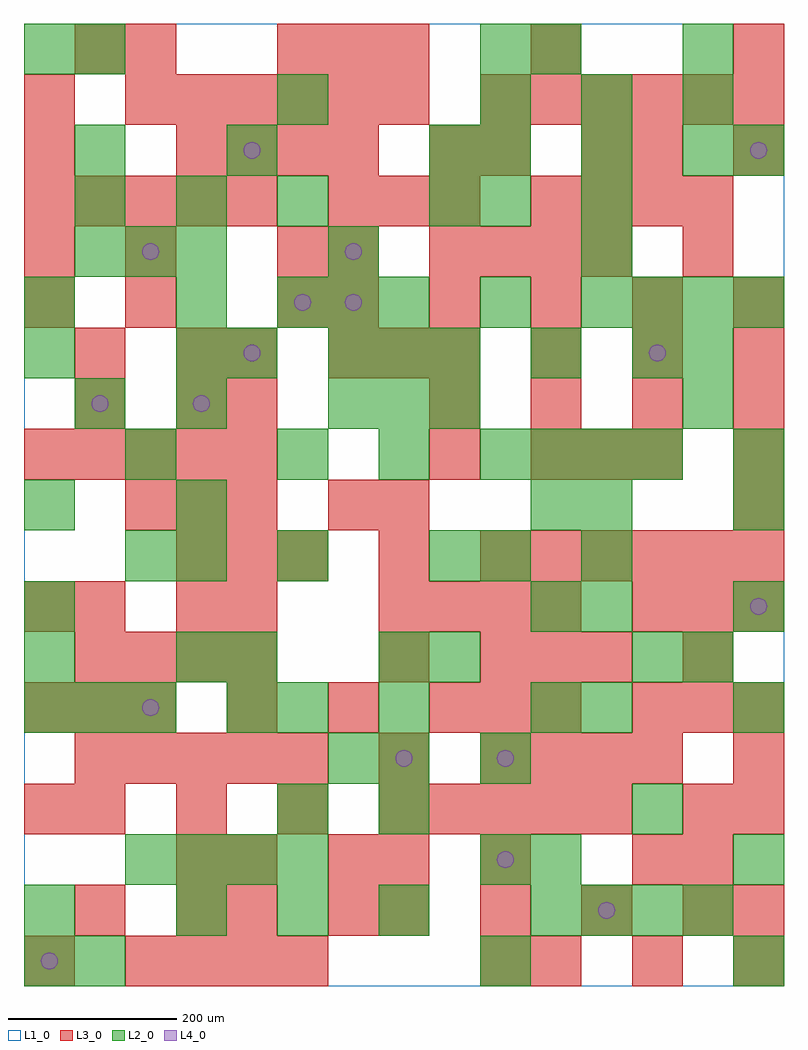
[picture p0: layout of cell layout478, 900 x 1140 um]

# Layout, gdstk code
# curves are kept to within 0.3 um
import gdstk
lib = gdstk.Library(unit=1e-6, precision=1e-09)
def R(c, l, rs):  # rectangles x0, y0, x1, y1
    for r in rs: c.add(gdstk.rectangle(r[:2], r[2:], *l))
def A(c, l, x, y, w, h, nx, ny, dx, dy):  # array of equal rectangles
    R(c, l, [(x+i*dx, y+j*dy, x+i*dx+w, y+j*dy+h) for i in range(nx) for j in range(ny)])
def P(c, l, *ps):  # polygons
    for p in ps: c.add(gdstk.Polygon(p, *l))
L1_0 = (1, 0)
L2_0 = (2, 0)
L3_0 = (3, 0)
L4_0 = (4, 0)

layout478 = lib.new_cell('layout478')
R(layout478, L1_0, [(0,0,900,1140)])
A(layout478, L2_0, 540, 0, 60, 60, 1, 3, 0, 120)
A(layout478, L2_0, 180, 60, 60, 60, 3, 1, 120, 0)
A(layout478, L2_0, 600, 60, 60, 60, 4, 1, 60, 0)
A(layout478, L2_0, 120, 120, 60, 60, 4, 1, 60, 0)
A(layout478, L2_0, 420, 180, 60, 60, 1, 4, 0, 60)
A(layout478, L2_0, 0, 300, 60, 60, 3, 1, 60, 0)
A(layout478, L2_0, 600, 300, 60, 60, 1, 3, 0, 120)
A(layout478, L2_0, 840, 300, 60, 60, 1, 3, 0, 120)
A(layout478, L2_0, 660, 420, 60, 60, 1, 3, 0, 60)
A(layout478, L2_0, 300, 600, 60, 60, 3, 1, 120, 0)
A(layout478, L2_0, 600, 600, 60, 60, 3, 1, 60, 0)
A(layout478, L2_0, 180, 660, 60, 60, 1, 3, 0, 60)
A(layout478, L2_0, 360, 660, 60, 60, 3, 2, 60, 60)
A(layout478, L2_0, 300, 780, 60, 60, 3, 1, 60, 0)
A(layout478, L2_0, 660, 780, 60, 60, 4, 1, 60, 0)
A(layout478, L2_0, 60, 840, 60, 60, 3, 1, 60, 0)
A(layout478, L2_0, 60, 900, 60, 60, 3, 1, 120, 0)
A(layout478, L2_0, 540, 960, 60, 60, 3, 2, 120, 60)
R(layout478, L2_0, [(0,0,60,60), (60,0,120,60), (840,0,900,60), (0,60,60,120), (600,120,660,180), (840,120,900,180), (300,180,360,240), (720,180,780,240), (360,240,420,300), (240,300,300,360), (300,300,360,360), (660,300,720,360), (0,360,60,420), (180,360,240,420), (240,360,300,420), (480,360,540,420), (720,360,780,420), (780,360,840,420), (0,420,60,480), (120,480,180,540), (180,480,240,540), (300,480,360,540), (480,480,540,540), (540,480,600,540), (0,540,60,600), (180,540,240,600), (120,600,180,660), (840,600,900,660), (60,660,120,720), (780,660,840,720), (0,720,60,780), (240,720,300,780), (600,720,660,780), (720,720,780,780), (780,720,840,780), (0,780,60,840), (540,780,600,840), (360,840,420,900), (660,840,720,900), (480,900,540,960), (540,900,600,960), (660,900,720,960), (60,960,120,1020), (240,960,300,1020), (480,960,540,1020), (840,960,900,1020), (300,1020,360,1080), (0,1080,60,1140), (60,1080,120,1140), (540,1080,600,1140), (600,1080,660,1140), (780,1080,840,1140)])
A(layout478, L3_0, 120, 0, 60, 60, 4, 1, 60, 0)
A(layout478, L3_0, 600, 0, 60, 60, 3, 2, 120, 720)
A(layout478, L3_0, 420, 60, 60, 60, 4, 1, 120, 0)
A(layout478, L3_0, 420, 120, 60, 60, 1, 4, 0, 120)
A(layout478, L3_0, 60, 180, 60, 60, 4, 1, 120, 0)
A(layout478, L3_0, 480, 180, 60, 60, 4, 2, 60, 660)
A(layout478, L3_0, 60, 240, 60, 60, 5, 1, 60, 0)
A(layout478, L3_0, 540, 240, 60, 60, 4, 1, 60, 0)
A(layout478, L3_0, 0, 300, 60, 60, 3, 1, 60, 0)
A(layout478, L3_0, 240, 300, 60, 60, 3, 1, 120, 0)
A(layout478, L3_0, 720, 300, 60, 60, 3, 2, 60, 120)
A(layout478, L3_0, 60, 360, 60, 60, 4, 1, 60, 0)
A(layout478, L3_0, 540, 360, 60, 60, 3, 1, 60, 0)
A(layout478, L3_0, 420, 420, 60, 60, 4, 1, 60, 0)
A(layout478, L3_0, 180, 480, 60, 60, 3, 1, 60, 0)
A(layout478, L3_0, 540, 480, 60, 60, 6, 2, 60, 540)
A(layout478, L3_0, 120, 540, 60, 60, 3, 1, 60, 0)
A(layout478, L3_0, 0, 600, 60, 60, 5, 2, 60, 300)
A(layout478, L3_0, 600, 600, 60, 60, 3, 1, 60, 0)
A(layout478, L3_0, 480, 660, 60, 60, 4, 1, 120, 0)
A(layout478, L3_0, 360, 720, 60, 60, 3, 2, 60, 180)
A(layout478, L3_0, 360, 780, 60, 60, 5, 1, 120, 0)
A(layout478, L3_0, 600, 900, 60, 60, 4, 1, 60, 0)
A(layout478, L3_0, 180, 960, 60, 60, 4, 1, 60, 0)
A(layout478, L3_0, 120, 1020, 60, 60, 6, 1, 60, 0)
A(layout478, L3_0, 300, 1080, 60, 60, 3, 1, 60, 0)
R(layout478, L3_0, [(0,0,60,60), (540,0,600,60), (60,60,120,120), (180,60,240,120), (240,60,300,120), (360,60,420,120), (840,60,900,120), (180,120,240,180), (240,120,300,180), (360,120,420,180), (540,120,600,180), (720,120,780,180), (780,120,840,180), (0,180,60,240), (780,180,840,240), (840,180,900,240), (840,240,900,300), (540,300,600,360), (600,300,660,360), (780,360,840,420), (0,420,60,480), (60,420,120,480), (180,420,240,480), (240,420,300,480), (360,540,420,600), (420,540,480,600), (840,540,900,600), (480,600,540,660), (840,600,900,660), (60,660,120,720), (180,660,240,720), (240,660,300,720), (60,720,120,780), (180,720,240,780), (240,720,300,780), (0,780,60,840), (120,780,180,840), (300,780,360,840), (0,840,60,900), (120,840,180,900), (300,840,360,900), (360,840,420,900), (780,840,840,900), (0,960,60,1020), (480,960,540,1020), (540,960,600,1020), (660,960,720,1020), (720,960,780,1020), (840,960,900,1020), (0,1020,60,1080), (60,1080,120,1140), (120,1080,180,1140), (600,1080,660,1140), (840,1080,900,1140)])
P(layout478, L4_0, [(40,30),(39.239,33.827),(37.071,37.071),(33.827,39.239),(30,40),(26.173,39.239),(22.929,37.071),(20.761,33.827),(20,30),(20.761,26.173),(22.929,22.929),(26.173,20.761),(30,20),(33.827,20.761),(37.071,22.929),(39.239,26.173)],
  [(100,690),(99.239,693.827),(97.071,697.071),(93.827,699.239),(90,700),(86.173,699.239),(82.929,697.071),(80.761,693.827),(80,690),(80.761,686.173),(82.929,682.929),(86.173,680.761),(90,680),(93.827,680.761),(97.071,682.929),(99.239,686.173)],
  [(160,330),(159.239,333.827),(157.071,337.071),(153.827,339.239),(150,340),(146.173,339.239),(142.929,337.071),(140.761,333.827),(140,330),(140.761,326.173),(142.929,322.929),(146.173,320.761),(150,320),(153.827,320.761),(157.071,322.929),(159.239,326.173)],
  [(160,870),(159.239,873.827),(157.071,877.071),(153.827,879.239),(150,880),(146.173,879.239),(142.929,877.071),(140.761,873.827),(140,870),(140.761,866.173),(142.929,862.929),(146.173,860.761),(150,860),(153.827,860.761),(157.071,862.929),(159.239,866.173)],
  [(220,690),(219.239,693.827),(217.071,697.071),(213.827,699.239),(210,700),(206.173,699.239),(202.929,697.071),(200.761,693.827),(200,690),(200.761,686.173),(202.929,682.929),(206.173,680.761),(210,680),(213.827,680.761),(217.071,682.929),(219.239,686.173)],
  [(280,750),(279.239,753.827),(277.071,757.071),(273.827,759.239),(270,760),(266.173,759.239),(262.929,757.071),(260.761,753.827),(260,750),(260.761,746.173),(262.929,742.929),(266.173,740.761),(270,740),(273.827,740.761),(277.071,742.929),(279.239,746.173)],
  [(280,990),(279.239,993.827),(277.071,997.071),(273.827,999.239),(270,1000),(266.173,999.239),(262.929,997.071),(260.761,993.827),(260,990),(260.761,986.173),(262.929,982.929),(266.173,980.761),(270,980),(273.827,980.761),(277.071,982.929),(279.239,986.173)],
  [(340,810),(339.239,813.827),(337.071,817.071),(333.827,819.239),(330,820),(326.173,819.239),(322.929,817.071),(320.761,813.827),(320,810),(320.761,806.173),(322.929,802.929),(326.173,800.761),(330,800),(333.827,800.761),(337.071,802.929),(339.239,806.173)],
  [(400,810),(399.239,813.827),(397.071,817.071),(393.827,819.239),(390,820),(386.173,819.239),(382.929,817.071),(380.761,813.827),(380,810),(380.761,806.173),(382.929,802.929),(386.173,800.761),(390,800),(393.827,800.761),(397.071,802.929),(399.239,806.173)],
  [(400,870),(399.239,873.827),(397.071,877.071),(393.827,879.239),(390,880),(386.173,879.239),(382.929,877.071),(380.761,873.827),(380,870),(380.761,866.173),(382.929,862.929),(386.173,860.761),(390,860),(393.827,860.761),(397.071,862.929),(399.239,866.173)],
  [(460,270),(459.239,273.827),(457.071,277.071),(453.827,279.239),(450,280),(446.173,279.239),(442.929,277.071),(440.761,273.827),(440,270),(440.761,266.173),(442.929,262.929),(446.173,260.761),(450,260),(453.827,260.761),(457.071,262.929),(459.239,266.173)],
  [(580,150),(579.239,153.827),(577.071,157.071),(573.827,159.239),(570,160),(566.173,159.239),(562.929,157.071),(560.761,153.827),(560,150),(560.761,146.173),(562.929,142.929),(566.173,140.761),(570,140),(573.827,140.761),(577.071,142.929),(579.239,146.173)],
  [(580,270),(579.239,273.827),(577.071,277.071),(573.827,279.239),(570,280),(566.173,279.239),(562.929,277.071),(560.761,273.827),(560,270),(560.761,266.173),(562.929,262.929),(566.173,260.761),(570,260),(573.827,260.761),(577.071,262.929),(579.239,266.173)],
  [(700,90),(699.239,93.827),(697.071,97.071),(693.827,99.239),(690,100),(686.173,99.239),(682.929,97.071),(680.761,93.827),(680,90),(680.761,86.173),(682.929,82.929),(686.173,80.761),(690,80),(693.827,80.761),(697.071,82.929),(699.239,86.173)],
  [(760,750),(759.239,753.827),(757.071,757.071),(753.827,759.239),(750,760),(746.173,759.239),(742.929,757.071),(740.761,753.827),(740,750),(740.761,746.173),(742.929,742.929),(746.173,740.761),(750,740),(753.827,740.761),(757.071,742.929),(759.239,746.173)],
  [(880,450),(879.239,453.827),(877.071,457.071),(873.827,459.239),(870,460),(866.173,459.239),(862.929,457.071),(860.761,453.827),(860,450),(860.761,446.173),(862.929,442.929),(866.173,440.761),(870,440),(873.827,440.761),(877.071,442.929),(879.239,446.173)],
  [(880,990),(879.239,993.827),(877.071,997.071),(873.827,999.239),(870,1000),(866.173,999.239),(862.929,997.071),(860.761,993.827),(860,990),(860.761,986.173),(862.929,982.929),(866.173,980.761),(870,980),(873.827,980.761),(877.071,982.929),(879.239,986.173)])

lib.write_gds('layout478.gds')
